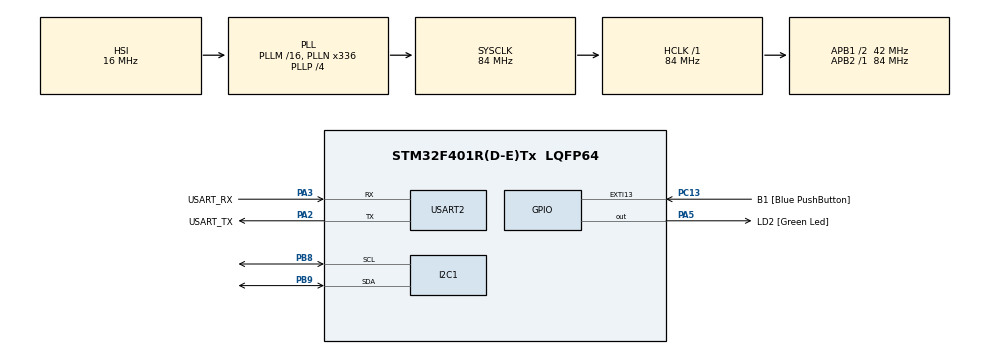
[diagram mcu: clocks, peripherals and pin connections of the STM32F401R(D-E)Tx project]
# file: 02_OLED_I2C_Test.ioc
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Mcu.Family=STM32F4
Mcu.Name=STM32F401R(D-E)Tx
Mcu.Package=LQFP64
NVIC.PriorityGroup=NVIC_PRIORITYGROUP_4
PA13.GPIO_Label=TMS
PA13.Mode=Trace_Asynchronous_SW
PA13.Signal=SYS_JTMS-SWDIO
PA14.GPIO_Label=TCK
PA14.Mode=Trace_Asynchronous_SW
PA14.Signal=SYS_JTCK-SWCLK
PA2.GPIO_Label=USART_TX
PA2.GPIO_Mode=GPIO_MODE_AF_PP
PA2.GPIO_PuPd=GPIO_NOPULL
PA2.GPIO_Speed=GPIO_SPEED_FREQ_LOW
PA2.Mode=Asynchronous
PA2.Signal=USART2_TX
PA3.GPIO_Label=USART_RX
PA3.GPIO_Mode=GPIO_MODE_AF_PP
PA3.GPIO_PuPd=GPIO_NOPULL
PA3.GPIO_Speed=GPIO_SPEED_FREQ_LOW
PA3.Mode=Asynchronous
PA3.Signal=USART2_RX
PA5.GPIO_Label=LD2 [Green Led]
PA5.GPIO_Mode=GPIO_MODE_OUTPUT_PP
PA5.GPIO_PuPd=GPIO_NOPULL
PA5.GPIO_Speed=GPIO_SPEED_FREQ_LOW
PA5.Signal=GPIO_Output
PB3.GPIO_Label=SWO
PB3.Mode=Trace_Asynchronous_SW
PB3.Signal=SYS_JTDO-SWO
PB8.Mode=I2C
PB8.Signal=I2C1_SCL
PB9.Mode=I2C
PB9.Signal=I2C1_SDA
PC13-ANTI_TAMP.GPIO_Label=B1 [Blue PushButton]
PC13-ANTI_TAMP.GPIO_ModeDefaultEXTI=GPIO_MODE_IT_FALLING
PC13-ANTI_TAMP.GPIO_PuPd=GPIO_NOPULL
PC13-ANTI_TAMP.Signal=GPXTI13
PC14-OSC32_IN.Mode=LSE-External-Oscillator
PC14-OSC32_IN.Signal=RCC_OSC32_IN
PC15-OSC32_OUT.Mode=LSE-External-Oscillator
PC15-OSC32_OUT.Signal=RCC_OSC32_OUT
PH0\ -\ OSC_IN.Mode=HSE-External-Clock-Source
PH0\ -\ OSC_IN.Signal=RCC_OSC_IN
PH1\ -\ OSC_OUT.Mode=HSE-External-Clock-Source
PH1\ -\ OSC_OUT.Signal=RCC_OSC_OUT
ProjectManager.HeapSize=0x200
ProjectManager.StackSize=0x400
ProjectManager.TargetToolchain=STM32CubeIDE
RCC.48MHZClocksFreq_Value=48000000
RCC.AHBFreq_Value=84000000
RCC.APB1CLKDivider=RCC_HCLK_DIV2
RCC.APB1Freq_Value=42000000
RCC.APB1TimFreq_Value=84000000
RCC.APB2Freq_Value=84000000
RCC.APB2TimFreq_Value=84000000
RCC.CortexFreq_Value=84000000
RCC.HCLKFreq_Value=84000000
RCC.HSE_VALUE=8000000
RCC.HSI_VALUE=16000000
RCC.PLLN=336
RCC.PLLP=RCC_PLLP_DIV4
RCC.PLLQ=7
RCC.SYSCLKFreq_VALUE=84000000
RCC.SYSCLKSource=RCC_SYSCLKSOURCE_PLLCLK
RCC.VCOOutputFreq_Value=336000000
USART2.VirtualMode=VM_ASYNC
board=NUCLEO-F401RE

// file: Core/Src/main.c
/* USER CODE BEGIN Header */
/**
  ******************************************************************************
  * @file           : main.c
  * @brief          : Main program body
  ******************************************************************************
  * @attention
  *
  * Copyright (c) 2026 STMicroelectronics.
  * All rights reserved.
  *
  * This software is licensed under terms that can be found in the LICENSE file
  * in the root directory of this software component.
  * If no LICENSE file comes with this software, it is provided AS-IS.
  *
  ******************************************************************************
  */
/* USER CODE END Header */
#include "main.h"

I2C_HandleTypeDef hi2c1;

UART_HandleTypeDef huart2;

void SystemClock_Config(void);
static void MX_GPIO_Init(void);
static void MX_USART2_UART_Init(void);
static void MX_I2C1_Init(void);

int main(void)
{

  /* MCU Configuration--------------------------------------------------------*/

  /* Reset of all peripherals, Initializes the Flash interface and the Systick. */
  HAL_Init();

  /* Configure the system clock */
  SystemClock_Config();

  /* Initialize all configured peripherals */
  MX_GPIO_Init();
  MX_USART2_UART_Init();
  MX_I2C1_Init();
  /* USER CODE BEGIN 2 */
  /* --- 0. 定義地址與資料緩衝區 --- */
  #define OLED_ADDR (0x3C << 1)
  uint8_t border_data[129]; // 用於存放一頁的顯示資料

  /* --- 1. 硬體偵測 (OK 才啟動) --- */
  if (HAL_I2C_IsDeviceReady(&hi2c1, OLED_ADDR, 5, 100) == HAL_OK) {

      // 偵測成功：讓板載 LED 恆亮
      HAL_GPIO_WritePin(GPIOA, GPIO_PIN_5, GPIO_PIN_SET);

      /* --- 2. 完整初始化序列 (針對 128x32 優化) --- */
      uint8_t init_ssd1306[] = {
          0x00, 0xAE,       // 關閉顯示
          0x00, 0xD5, 0x80, // 設定時鐘分頻
          0x00, 0xA8, 0x1F, // Multiplex Ratio 改為 31 (即 32 行模式)
          0x00, 0xD3, 0x00, // 設定顯示偏移為 0
          0x00, 0x40,       // 設定顯示起始行為 0
          0x00, 0x8D, 0x14, // 開啟電荷泵 (核心指令)
          0x00, 0x20, 0x00, // 水平定址模式
          0x00, 0xA1,       // 段映射 (左右翻轉控制)
          0x00, 0xC8,       // 行掃描方向 (上下翻轉控制)
          0x00, 0xDA, 0x02, // COM Pins 硬體配置 (128x32 專屬，修正頂部不亮)
          0x00, 0x81, 0xCF, // 設定對比度
          0x00, 0xD9, 0xF1, // 設定預充電週期
          0x00, 0xAF        // 開啟顯示
      };
      HAL_I2C_Master_Transmit(&hi2c1, OLED_ADDR, init_ssd1306, sizeof(init_ssd1306), 100);
      HAL_Delay(100); // 等待硬體穩定

      /* --- 3. 清除全螢幕 (先洗掉之前的殘留畫面) --- */
      uint8_t clear_data[129] = {0x40}; // 第一個 Byte 是 Data Mode, 其餘 0x00
      for(int p = 0; p < 4; p++) {
          uint8_t page_cmd[] = {0x00, (uint8_t)(0xB0 + p), 0x00, 0x10};
          HAL_I2C_Master_Transmit(&hi2c1, OLED_ADDR, page_cmd, sizeof(page_cmd), 10);
          HAL_I2C_Master_Transmit(&hi2c1, OLED_ADDR, clear_data, 129, 50);
      }

      /* --- 4. 繪製最外圈邊框 (Page 0 ~ Page 3) --- */
      border_data[0] = 0x40; // 進入資料模式

      for (int page = 0; page < 4; page++) {
          // 設定目前的 Page 地址
          uint8_t page_cmd[] = {0x00, (uint8_t)(0xB0 + page), 0x00, 0x10};
          HAL_I2C_Master_Transmit(&hi2c1, OLED_ADDR, page_cmd, sizeof(page_cmd), 10);

          // 根據不同 Page 計算該亮的點
          for (int i = 1; i <= 128; i++) {
              if (page == 0) {
                  border_data[i] = 0x01; // 第一頁：亮最頂部一條線
              }
              else if (page == 3) {
                  border_data[i] = 0x80; // 第四頁：亮最底部一條線
              }
              else {
                  border_data[i] = 0x00; // 中間頁：預設空白
              }

              // 無論哪一頁，最左(1)與最右(128)都要全亮，形成垂直邊框
              if (i == 1 || i == 128) {
                  border_data[i] = 0xFF;
              }
          }
          // 發送這一頁的 128 像素資料
          HAL_I2C_Master_Transmit(&hi2c1, OLED_ADDR, border_data, 129, 50);
      }
  } else {
      /* --- 偵測失敗：讓 LED 閃爍警告 --- */
      while(1) {
          HAL_GPIO_TogglePin(GPIOA, GPIO_PIN_5);
          HAL_Delay(100);
      }
  }

  /* USER CODE END 2 */

  /* Infinite loop */
  while (1)
  {

    /* USER CODE BEGIN 3 */
	  /*
	  uint8_t i2c_send_data = 0xAF;
	  HAL_I2C_Master_Transmit(&hi2c1, 0x3C<<1, &i2c_send_data, 1, 100);
	  HAL_Delay(500);*/
  }
  /* USER CODE END 3 */
}

void SystemClock_Config(void)
{
  RCC_OscInitTypeDef RCC_OscInitStruct = {0};
  RCC_ClkInitTypeDef RCC_ClkInitStruct = {0};

  /** Configure the main internal regulator output voltage
  */
  __HAL_RCC_PWR_CLK_ENABLE();
  __HAL_PWR_VOLTAGESCALING_CONFIG(PWR_REGULATOR_VOLTAGE_SCALE2);

  /** Initializes the RCC Oscillators according to the specified parameters
  * in the RCC_OscInitTypeDef structure.
  */
  RCC_OscInitStruct.OscillatorType = RCC_OSCILLATORTYPE_HSI;
  RCC_OscInitStruct.HSIState = RCC_HSI_ON;
  RCC_OscInitStruct.HSICalibrationValue = RCC_HSICALIBRATION_DEFAULT;
  RCC_OscInitStruct.PLL.PLLState = RCC_PLL_ON;
  RCC_OscInitStruct.PLL.PLLSource = RCC_PLLSOURCE_HSI;
  RCC_OscInitStruct.PLL.PLLM = 16;
  RCC_OscInitStruct.PLL.PLLN = 336;
  RCC_OscInitStruct.PLL.PLLP = RCC_PLLP_DIV4;
  RCC_OscInitStruct.PLL.PLLQ = 7;
  if (HAL_RCC_OscConfig(&RCC_OscInitStruct) != HAL_OK)
  {
    Error_Handler();
  }

  /** Initializes the CPU, AHB and APB buses clocks
  */
  RCC_ClkInitStruct.ClockType = RCC_CLOCKTYPE_HCLK|RCC_CLOCKTYPE_SYSCLK
                              |RCC_CLOCKTYPE_PCLK1|RCC_CLOCKTYPE_PCLK2;
  RCC_ClkInitStruct.SYSCLKSource = RCC_SYSCLKSOURCE_PLLCLK;
  RCC_ClkInitStruct.AHBCLKDivider = RCC_SYSCLK_DIV1;
  RCC_ClkInitStruct.APB1CLKDivider = RCC_HCLK_DIV2;
  RCC_ClkInitStruct.APB2CLKDivider = RCC_HCLK_DIV1;

  if (HAL_RCC_ClockConfig(&RCC_ClkInitStruct, FLASH_LATENCY_2) != HAL_OK)
  {
    Error_Handler();
  }
}

static void MX_I2C1_Init(void)
{

  hi2c1.Instance = I2C1;
  hi2c1.Init.ClockSpeed = 100000;
  hi2c1.Init.DutyCycle = I2C_DUTYCYCLE_2;
  hi2c1.Init.OwnAddress1 = 0;
  hi2c1.Init.AddressingMode = I2C_ADDRESSINGMODE_7BIT;
  hi2c1.Init.DualAddressMode = I2C_DUALADDRESS_DISABLE;
  hi2c1.Init.OwnAddress2 = 0;
  hi2c1.Init.GeneralCallMode = I2C_GENERALCALL_DISABLE;
  hi2c1.Init.NoStretchMode = I2C_NOSTRETCH_DISABLE;
  if (HAL_I2C_Init(&hi2c1) != HAL_OK)
  {
    Error_Handler();
  }

}

static void MX_USART2_UART_Init(void)
{

  huart2.Instance = USART2;
  huart2.Init.BaudRate = 115200;
  huart2.Init.WordLength = UART_WORDLENGTH_8B;
  huart2.Init.StopBits = UART_STOPBITS_1;
  huart2.Init.Parity = UART_PARITY_NONE;
  huart2.Init.Mode = UART_MODE_TX_RX;
  huart2.Init.HwFlowCtl = UART_HWCONTROL_NONE;
  huart2.Init.OverSampling = UART_OVERSAMPLING_16;
  if (HAL_UART_Init(&huart2) != HAL_OK)
  {
    Error_Handler();
  }

}

static void MX_GPIO_Init(void)
{
  GPIO_InitTypeDef GPIO_InitStruct = {0};

  /* GPIO Ports Clock Enable */
  __HAL_RCC_GPIOC_CLK_ENABLE();
  __HAL_RCC_GPIOH_CLK_ENABLE();
  __HAL_RCC_GPIOA_CLK_ENABLE();
  __HAL_RCC_GPIOB_CLK_ENABLE();

  /*Configure GPIO pin Output Level */
  HAL_GPIO_WritePin(LD2_GPIO_Port, LD2_Pin, GPIO_PIN_RESET);

  /*Configure GPIO pin : B1_Pin */
  GPIO_InitStruct.Pin = B1_Pin;
  GPIO_InitStruct.Mode = GPIO_MODE_IT_FALLING;
  GPIO_InitStruct.Pull = GPIO_NOPULL;
  HAL_GPIO_Init(B1_GPIO_Port, &GPIO_InitStruct);

  /*Configure GPIO pin : LD2_Pin */
  GPIO_InitStruct.Pin = LD2_Pin;
  GPIO_InitStruct.Mode = GPIO_MODE_OUTPUT_PP;
  GPIO_InitStruct.Pull = GPIO_NOPULL;
  GPIO_InitStruct.Speed = GPIO_SPEED_FREQ_LOW;
  HAL_GPIO_Init(LD2_GPIO_Port, &GPIO_InitStruct);

}

void Error_Handler(void)
{
  __disable_irq();
  while (1)
  {
  }
}
